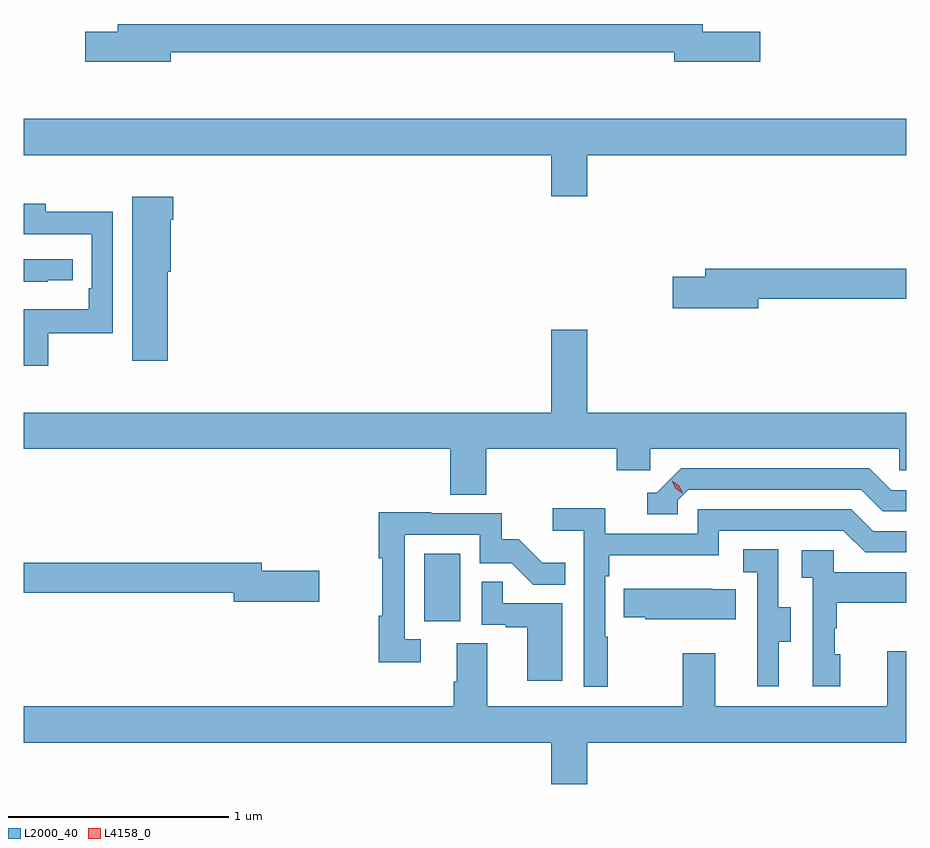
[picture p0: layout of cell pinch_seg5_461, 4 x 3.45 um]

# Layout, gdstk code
import gdstk
lib = gdstk.Library(unit=1e-6, precision=1e-09)
def R(c, l, rs):  # rectangles x0, y0, x1, y1
    for r in rs: c.add(gdstk.rectangle(r[:2], r[2:], *l))
def P(c, l, *ps):  # polygons
    for p in ps: c.add(gdstk.Polygon(p, *l))
L2000_40 = (2000, 40)
L4158_0 = (4158, 0)

pinch_seg5_461 = lib.new_cell('pinch_seg5_461')
R(pinch_seg5_461, L2000_40, [(907.688,859.974,907.852,860.281)])
P(pinch_seg5_461, L2000_40, [(906.538,862.554),(908.822,862.554),(908.822,862.511),(909.211,862.511),(909.211,862.646),(908.95,862.646),(908.95,862.682),(906.299,862.682),(906.299,862.646),(906.15,862.646),(906.15,862.511),(906.538,862.511)],
  [(908.428,862.088),(909.873,862.088),(909.873,862.252),(905.873,862.252),(905.873,862.088),(908.264,862.088),(908.264,861.9),(908.428,861.9)],
  [(906.526,861.558),(906.538,861.558),(906.538,861.794),(906.551,861.794),(906.551,861.898),(906.365,861.898),(906.365,861.156),(906.526,861.156)],
  [(905.983,861.279),(906.276,861.279),(906.276,861.83),(905.971,861.83),(905.971,861.868),(905.873,861.868),(905.873,861.729),(906.18,861.729),(906.18,861.484),(906.167,861.484),(906.167,861.388),(905.873,861.388),(905.873,861.132),(905.983,861.132)],
  [(905.981,861.519),(906.094,861.519),(906.094,861.615),(905.873,861.615),(905.873,861.514),(905.981,861.514)],
  [(909.202,861.436),(909.873,861.436),(909.873,861.572),(908.963,861.572),(908.963,861.536),(908.814,861.536),(908.814,861.394),(909.202,861.394)],
  [(907.97,860.756),(908.561,860.756),(908.561,860.658),(908.712,860.658),(908.712,860.756),(909.843,860.756),(909.843,860.658),(909.873,860.658),(909.873,860.92),(908.428,860.92),(908.428,861.295),(908.264,861.295),(908.264,860.92),(905.873,860.92),(905.873,860.756),(907.805,860.756),(907.805,860.548),(907.97,860.548)],
  [(908.838,860.523),(908.886,860.571),(909.669,860.571),(909.768,860.472),(909.873,860.472),(909.873,860.568),(909.805,860.568),(909.706,860.667),(908.853,860.667),(908.742,860.556),(908.699,860.556),(908.699,860.46),(908.838,860.46)],
  [(908.521,859.904),(908.508,859.904),(908.508,860.177),(908.528,860.177),(908.528,860.273),(909.024,860.273),(909.024,860.385),(909.588,860.385),(909.687,860.286),(909.873,860.286),(909.873,860.382),(909.724,860.382),(909.625,860.481),(908.928,860.481),(908.928,860.37),(908.51,860.37),(908.51,860.486),(908.271,860.486),(908.271,860.384),(908.412,860.384),(908.412,859.677),(908.521,859.677)],
  [(907.672,859.893),(907.599,859.893),(907.599,860.367),(907.941,860.367),(907.941,860.238),(908.085,860.238),(908.183,860.14),(908.327,860.14),(908.327,860.239),(908.223,860.239),(908.116,860.346),(908.04,860.346),(908.04,860.463),(907.721,860.463),(907.721,860.468),(907.483,860.468),(907.483,860.26),(907.498,860.26),(907.498,860),(907.483,860),(907.483,859.788),(907.672,859.788)],
  [(909.295,859.882),(909.349,859.882),(909.349,860.037),(909.294,860.037),(909.294,860.3),(909.135,860.3),(909.135,860.197),(909.198,860.197),(909.198,859.893),(909.197,859.893),(909.197,859.68),(909.295,859.68)],
  [(909.574,859.824),(909.549,859.824),(909.549,859.943),(909.559,859.943),(909.559,860.057),(909.873,860.057),(909.873,860.197),(909.546,860.197),(909.546,860.295),(909.399,860.295),(909.399,860.171),(909.45,860.171),(909.45,859.68),(909.574,859.68)],
  [(907.213,860.204),(906.952,860.204),(906.952,860.24),(905.873,860.24),(905.873,860.104),(906.824,860.104),(906.824,860.062),(907.213,860.062)],
  [(908.314,860.055),(908.045,860.055),(908.045,860.153),(907.95,860.153),(907.95,859.959),(908.057,859.959),(908.057,859.947),(908.156,859.947),(908.156,859.704),(908.314,859.704)],
  [(909.101,860.119),(908.993,860.119),(908.993,860.122),(908.593,860.122),(908.593,859.993),(908.691,859.993),(908.691,859.982),(909.101,859.982)],
  [(908.428,859.424),(909.873,859.424),(909.873,859.837),(909.788,859.837),(909.788,859.588),(909.007,859.588),(909.007,859.828),(908.86,859.828),(908.86,859.588),(907.975,859.588),(907.975,859.874),(907.835,859.874),(907.835,859.7),(907.823,859.7),(907.823,859.588),(905.873,859.588),(905.873,859.424),(908.264,859.424),(908.264,859.236),(908.428,859.236)])
P(pinch_seg5_461, L4158_0, [(908.86,860.555),(908.829,860.575),(908.813,860.608),(908.813,860.608),(908.814,860.608),(908.844,860.588),(908.86,860.555),(908.86,860.555)])

lib.write_gds('pinch_seg5_461.gds')
